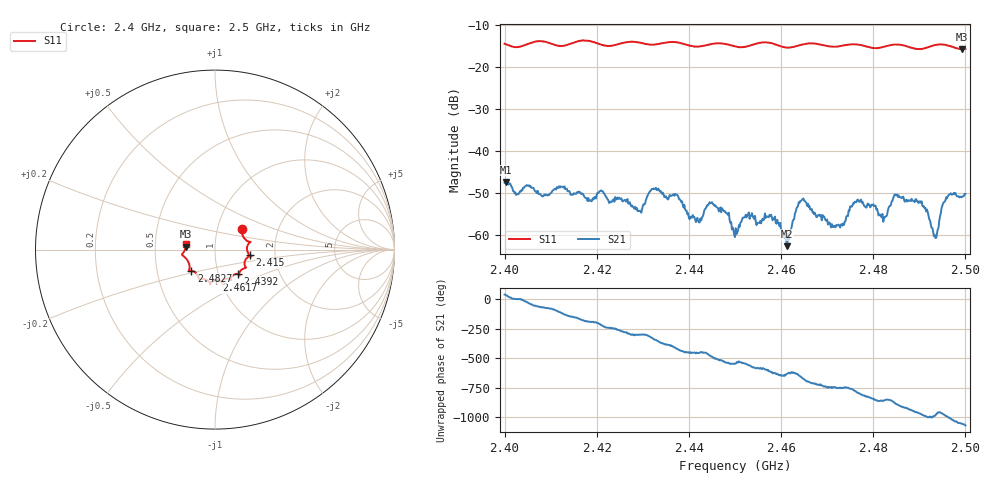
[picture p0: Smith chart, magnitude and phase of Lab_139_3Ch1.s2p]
# Hz S RI R 50
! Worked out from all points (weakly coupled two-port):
!   601 points, 2.4 GHz to 2.5 GHz, reference 50 ohm
!   highest |S21| = -47.35 dB at 2.4003 GHz (marker M1); lowest = -62.6 dB at 2.4613 GHz (marker M2)
!   lowest |S11| = -15.7 dB at 2.4992 GHz (marker M3), VSWR 1.39, Z = 36 + j1.19 ohm
!   |S11| at or under -10 dB: start of sweep to end of sweep
!   S12 and S22 are empty: the file has one direction only
!   S11 on the Smith chart (normalised r, x): 2.4 GHz: 1.31, +0.31; 2.415 GHz: 1.48, -0.10; 2.4392 GHz: 1.24, -0.35; 2.4617 GHz: 0.96, -0.34; 2.4827 GHz: 0.75, -0.18; 2.5 GHz: 0.72, +0.05
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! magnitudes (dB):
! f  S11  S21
! 2.4 GHz  -14.4  -47.5
! 2.4003 GHz  -14.6  -47.3
! 2.415 GHz  -14.2  -50.0
! 2.4167 GHz  -13.7  -50.2
! 2.4293 GHz  -14.2  -54.2
! 2.4333 GHz  -14.5  -48.9
! 2.4392 GHz  -14.6  -53.8
! 2.442 GHz  -15.1  -56.6
! 2.445 GHz  -14.5  -52.2
! 2.45 GHz  -15.1  -60.4
! 2.4575 GHz  -14.2  -55.2
! 2.4613 GHz  -15.4  -62.6
! 2.4617 GHz  -15.4  -61.1
! 2.4643 GHz  -14.7  -51.8
! 2.4667 GHz  -14.3  -53.8
! 2.4827 GHz  -15.1  -55.6
! 2.4833 GHz  -14.9  -53.5
! 2.49 GHz  -15.7  -52.1
! 2.4935 GHz  -14.7  -60.7
! 2.4958 GHz  -14.7  -51.0
! 2.4992 GHz  -15.7  -51.0
! 2.5 GHz  -15.7  -50.2
